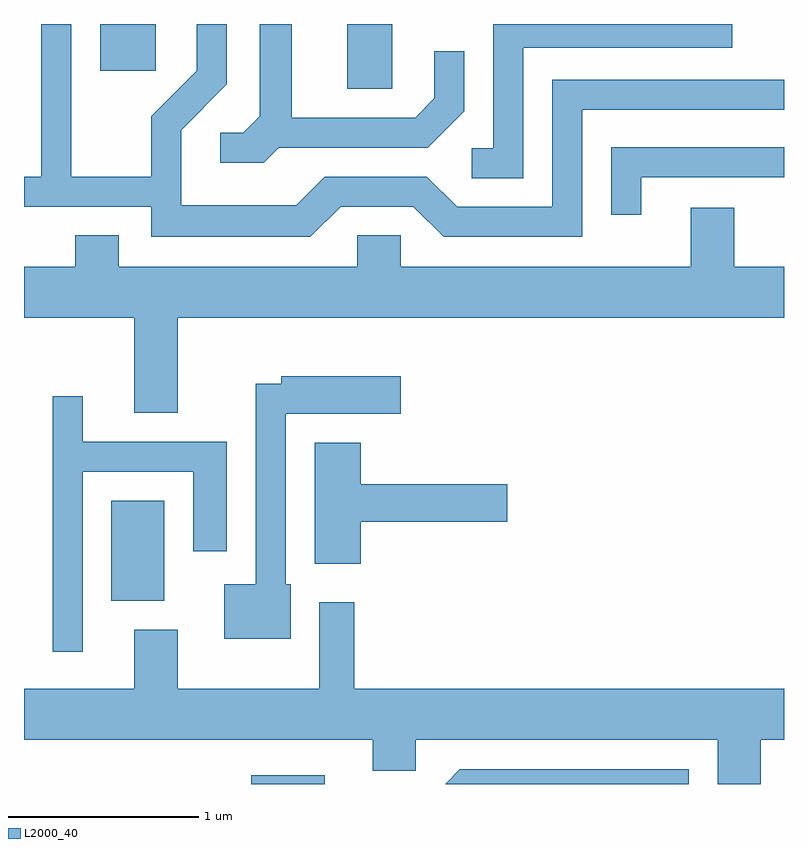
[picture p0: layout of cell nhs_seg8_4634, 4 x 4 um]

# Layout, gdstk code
import gdstk
lib = gdstk.Library(unit=1e-6, precision=1e-09)
def R(c, l, rs):  # rectangles x0, y0, x1, y1
    for r in rs: c.add(gdstk.rectangle(r[:2], r[2:], *l))
def P(c, l, *ps):  # polygons
    for p in ps: c.add(gdstk.Polygon(p, *l))
L2000_40 = (2000, 40)

nhs_seg8_4634 = lib.new_cell('nhs_seg8_4634')
R(nhs_seg8_4634, L2000_40, [(324.806,1898.342,325.193,1898.389), (324.071,1899.306,324.349,1899.834), (325.311,1902.001,325.549,1902.342), (324.011,1902.096,324.304,1902.342)])
P(nhs_seg8_4634, L2000_40, [(324.952,1901.691),(325.737,1901.691),(325.929,1901.884),(325.929,1902.198),(325.771,1902.198),(325.771,1901.952),(325.669,1901.849),(325.019,1901.849),(325.019,1902.342),(324.851,1902.342),(324.851,1901.857),(324.764,1901.769),(324.643,1901.769),(324.643,1901.611),(324.872,1901.611)],
  [(325.277,1901.381),(325.659,1901.381),(325.819,1901.221),(326.549,1901.221),(326.549,1901.891),(327.611,1901.891),(327.611,1902.049),(326.391,1902.049),(326.391,1901.379),(325.892,1901.379),(325.732,1901.539),(325.194,1901.539),(325.044,1901.389),(324.439,1901.389),(324.439,1901.784),(324.679,1902.024),(324.679,1902.342),(324.521,1902.342),(324.521,1902.097),(324.281,1901.857),(324.281,1901.539),(323.859,1901.539),(323.859,1902.342),(323.701,1902.342),(323.701,1901.539),(323.611,1901.539),(323.611,1901.381),(324.281,1901.381),(324.281,1901.221),(325.117,1901.221)],
  [(326.239,1902.216),(327.338,1902.216),(327.338,1902.342),(326.081,1902.342),(326.081,1901.689),(325.968,1901.689),(325.968,1901.531),(326.239,1901.531)],
  [(326.859,1901.536),(327.611,1901.536),(327.611,1901.694),(326.701,1901.694),(326.701,1901.338),(326.859,1901.338)],
  [(324.419,1900.796),(327.611,1900.796),(327.611,1901.064),(327.349,1901.064),(327.349,1901.374),(327.121,1901.374),(327.121,1901.064),(325.594,1901.064),(325.594,1901.229),(325.366,1901.229),(325.366,1901.064),(324.109,1901.064),(324.109,1901.229),(323.881,1901.229),(323.881,1901.064),(323.611,1901.064),(323.611,1900.796),(324.191,1900.796),(324.191,1900.296),(324.419,1900.296)],
  [(325.014,1899.394),(324.989,1899.394),(324.989,1900.291),(325.594,1900.291),(325.594,1900.489),(324.966,1900.489),(324.966,1900.449),(324.831,1900.449),(324.831,1899.394),(324.666,1899.394),(324.666,1899.106),(325.014,1899.106)],
  [(323.919,1899.986),(324.501,1899.986),(324.501,1899.566),(324.679,1899.566),(324.679,1900.144),(323.919,1900.144),(323.919,1900.383),(323.761,1900.383),(323.761,1899.038),(323.919,1899.038)],
  [(325.384,1899.721),(326.154,1899.721),(326.154,1899.919),(325.384,1899.919),(325.384,1900.139),(325.141,1900.139),(325.141,1899.501),(325.384,1899.501)],
  [(327.489,1898.576),(327.611,1898.576),(327.611,1898.844),(325.349,1898.844),(325.349,1899.299),(325.166,1899.299),(325.166,1898.844),(324.419,1898.844),(324.419,1899.154),(324.191,1899.154),(324.191,1898.844),(323.611,1898.844),(323.611,1898.576),(325.446,1898.576),(325.446,1898.411),(325.674,1898.411),(325.674,1898.576),(327.261,1898.576),(327.261,1898.342),(327.489,1898.342)],
  [(327.109,1898.419),(325.904,1898.419),(325.827,1898.342),(327.109,1898.342)])

lib.write_gds('nhs_seg8_4634.gds')
